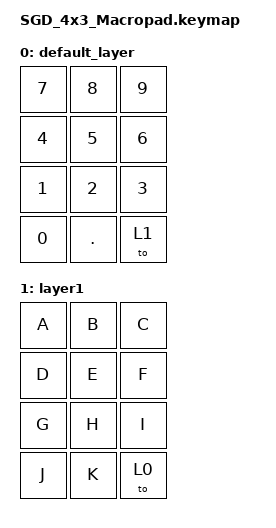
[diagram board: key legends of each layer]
/ {
    keymap {
        compatible = "zmk,keymap";

        default_layer {
            bindings = <
                &kp N7 &kp N8 &kp N9
                &kp N4 &kp N5 &kp N6
                &kp N1 &kp N2 &kp N3
                &kp N0 &kp DOT &to 1
            >;
        };

        layer1 {
            bindings = <
                &kp A &kp B &kp C
                &kp D &kp E &kp F
                &kp G &kp H &kp I
                &kp J &kp K &to 0
            >;
        };
    };
};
